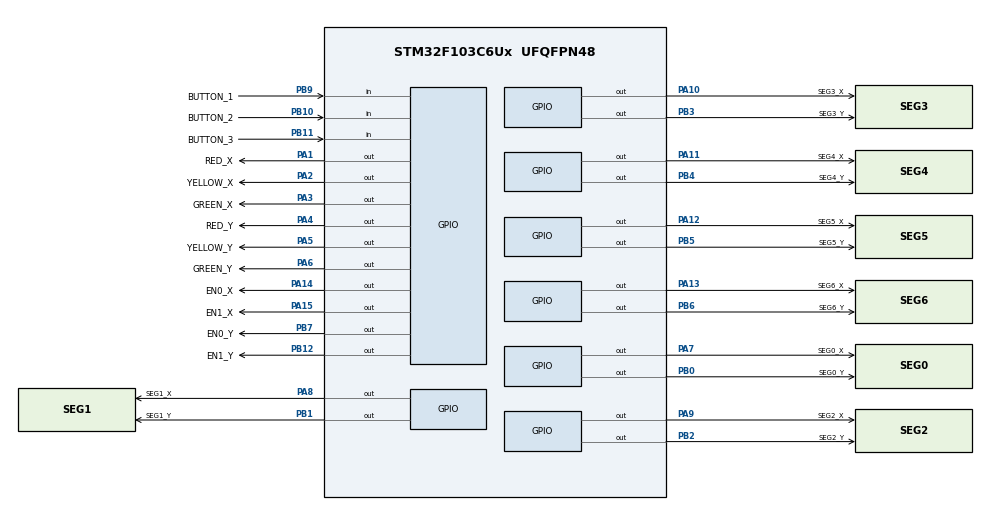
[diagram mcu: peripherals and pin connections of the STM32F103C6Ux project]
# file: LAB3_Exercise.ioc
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Mcu.Family=STM32F1
Mcu.Name=STM32F103C6Ux
Mcu.Package=UFQFPN48
NVIC.PriorityGroup=NVIC_PRIORITYGROUP_4
NVIC.TIM2_IRQn=true\:0\:0\:false\:false\:true\:true\:true
PA1.GPIO_Label=RED_X
PA1.Signal=GPIO_Output
PA10.GPIO_Label=SEG3_X
PA10.Signal=GPIO_Output
PA11.GPIO_Label=SEG4_X
PA11.Signal=GPIO_Output
PA12.GPIO_Label=SEG5_X
PA12.Signal=GPIO_Output
PA13.GPIO_Label=SEG6_X
PA13.Signal=GPIO_Output
PA14.GPIO_Label=EN0_X
PA14.Signal=GPIO_Output
PA15.GPIO_Label=EN1_X
PA15.Signal=GPIO_Output
PA2.GPIO_Label=YELLOW_X
PA2.Signal=GPIO_Output
PA3.GPIO_Label=GREEN_X
PA3.Signal=GPIO_Output
PA4.GPIO_Label=RED_Y
PA4.Signal=GPIO_Output
PA5.GPIO_Label=YELLOW_Y
PA5.Signal=GPIO_Output
PA6.GPIO_Label=GREEN_Y
PA6.Signal=GPIO_Output
PA7.GPIO_Label=SEG0_X
PA7.Signal=GPIO_Output
PA8.GPIO_Label=SEG1_X
PA8.Signal=GPIO_Output
PA9.GPIO_Label=SEG2_X
PA9.Signal=GPIO_Output
PB0.GPIO_Label=SEG0_Y
PB0.Signal=GPIO_Output
PB1.GPIO_Label=SEG1_Y
PB1.Signal=GPIO_Output
PB10.GPIO_Label=BUTTON_2
PB10.GPIO_PuPd=GPIO_PULLUP
PB10.Signal=GPIO_Input
PB11.GPIO_Label=BUTTON_3
PB11.GPIO_PuPd=GPIO_PULLUP
PB11.Signal=GPIO_Input
PB12.GPIO_Label=EN1_Y
PB12.Signal=GPIO_Output
PB2.GPIO_Label=SEG2_Y
PB2.Signal=GPIO_Output
PB3.GPIO_Label=SEG3_Y
PB3.Signal=GPIO_Output
PB4.GPIO_Label=SEG4_Y
PB4.Signal=GPIO_Output
PB5.GPIO_Label=SEG5_Y
PB5.Signal=GPIO_Output
PB6.GPIO_Label=SEG6_Y
PB6.Signal=GPIO_Output
PB7.GPIO_Label=EN0_Y
PB7.Signal=GPIO_Output
PB9.GPIO_Label=BUTTON_1
PB9.GPIO_PuPd=GPIO_PULLUP
PB9.Signal=GPIO_Input
ProjectManager.HeapSize=0x200
ProjectManager.StackSize=0x400
ProjectManager.TargetToolchain=STM32CubeIDE
RCC.APB1Freq_Value=8000000
RCC.APB2Freq_Value=8000000
TIM2.Period=9
TIM2.Prescaler=7999
VP_SYS_VS_ND.Mode=No_Debug
VP_TIM2_VS_ClockSourceINT.Mode=Internal
board=custom

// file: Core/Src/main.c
/* USER CODE BEGIN Header */
/**
  ******************************************************************************
  * @file           : main.c
  * @brief          : Main program body
  ******************************************************************************
  * @attention
  *
  * <h2><center>&copy; Copyright (c) 2024 STMicroelectronics.
  * All rights reserved.</center></h2>
  *
  * This software component is licensed by ST under BSD 3-Clause license,
  * the "License"; You may not use this file except in compliance with the
  * License. You may obtain a copy of the License at:
  *                        opensource.org/licenses/BSD-3-Clause
  *
  ******************************************************************************
  */
/* USER CODE END Header */
#include "main.h"

/* USER CODE BEGIN Includes */
#include "software_timer.h"
#include "button.h"
#include "fsm_automatic.h"
#include "display7SEG.h"
#include "modes.h"
/* USER CODE END Includes */

TIM_HandleTypeDef htim2;

void SystemClock_Config(void);
static void MX_GPIO_Init(void);
static void MX_TIM2_Init(void);

/* USER CODE BEGIN 0 */
//int second_X = 4, second_Y = 2;
/* USER CODE END 0 */

int main(void)
{

  /* MCU Configuration--------------------------------------------------------*/

  /* Reset of all peripherals, Initializes the Flash interface and the Systick. */
  HAL_Init();

  /* Configure the system clock */
  SystemClock_Config();

  /* Initialize all configured peripherals */
  MX_GPIO_Init();
  MX_TIM2_Init();
  /* USER CODE BEGIN 2 */
  HAL_TIM_Base_Start_IT(&htim2);
  /* USER CODE END 2 */

  /* Infinite loop */
  /* USER CODE BEGIN WHILE */

  status_X = INIT;
  status_Y = INIT;

  timer_flag_0 = 1;
  timer_flag_1 = 1;
  timer_flag_2 = 1;
  timer_flag_3 = 1;
  timer_flag_4 = 1;
  timer_flag_5 = 1;
  while (1)
  {
	  run_traffic_light();
    /* USER CODE END WHILE */

  }
}

void SystemClock_Config(void)
{
  RCC_OscInitTypeDef RCC_OscInitStruct = {0};
  RCC_ClkInitTypeDef RCC_ClkInitStruct = {0};

  /** Initializes the RCC Oscillators according to the specified parameters
  * in the RCC_OscInitTypeDef structure.
  */
  RCC_OscInitStruct.OscillatorType = RCC_OSCILLATORTYPE_HSI;
  RCC_OscInitStruct.HSIState = RCC_HSI_ON;
  RCC_OscInitStruct.HSICalibrationValue = RCC_HSICALIBRATION_DEFAULT;
  RCC_OscInitStruct.PLL.PLLState = RCC_PLL_NONE;
  if (HAL_RCC_OscConfig(&RCC_OscInitStruct) != HAL_OK)
  {
    Error_Handler();
  }
  /** Initializes the CPU, AHB and APB buses clocks
  */
  RCC_ClkInitStruct.ClockType = RCC_CLOCKTYPE_HCLK|RCC_CLOCKTYPE_SYSCLK
                              |RCC_CLOCKTYPE_PCLK1|RCC_CLOCKTYPE_PCLK2;
  RCC_ClkInitStruct.SYSCLKSource = RCC_SYSCLKSOURCE_HSI;
  RCC_ClkInitStruct.AHBCLKDivider = RCC_SYSCLK_DIV1;
  RCC_ClkInitStruct.APB1CLKDivider = RCC_HCLK_DIV1;
  RCC_ClkInitStruct.APB2CLKDivider = RCC_HCLK_DIV1;

  if (HAL_RCC_ClockConfig(&RCC_ClkInitStruct, FLASH_LATENCY_0) != HAL_OK)
  {
    Error_Handler();
  }
}

static void MX_TIM2_Init(void)
{

  TIM_ClockConfigTypeDef sClockSourceConfig = {0};
  TIM_MasterConfigTypeDef sMasterConfig = {0};

  htim2.Instance = TIM2;
  htim2.Init.Prescaler = 7999;
  htim2.Init.CounterMode = TIM_COUNTERMODE_UP;
  htim2.Init.Period = 9;
  htim2.Init.ClockDivision = TIM_CLOCKDIVISION_DIV1;
  htim2.Init.AutoReloadPreload = TIM_AUTORELOAD_PRELOAD_DISABLE;
  if (HAL_TIM_Base_Init(&htim2) != HAL_OK)
  {
    Error_Handler();
  }
  sClockSourceConfig.ClockSource = TIM_CLOCKSOURCE_INTERNAL;
  if (HAL_TIM_ConfigClockSource(&htim2, &sClockSourceConfig) != HAL_OK)
  {
    Error_Handler();
  }
  sMasterConfig.MasterOutputTrigger = TIM_TRGO_RESET;
  sMasterConfig.MasterSlaveMode = TIM_MASTERSLAVEMODE_DISABLE;
  if (HAL_TIMEx_MasterConfigSynchronization(&htim2, &sMasterConfig) != HAL_OK)
  {
    Error_Handler();
  }

}

static void MX_GPIO_Init(void)
{
  GPIO_InitTypeDef GPIO_InitStruct = {0};

  /* GPIO Ports Clock Enable */
  __HAL_RCC_GPIOA_CLK_ENABLE();
  __HAL_RCC_GPIOB_CLK_ENABLE();

  /*Configure GPIO pin Output Level */
  HAL_GPIO_WritePin(GPIOA, RED_X_Pin|YELLOW_X_Pin|GREEN_X_Pin|RED_Y_Pin
                          |YELLOW_Y_Pin|GREEN_Y_Pin|SEG0_X_Pin|SEG1_X_Pin
                          |SEG2_X_Pin|SEG3_X_Pin|SEG4_X_Pin|SEG5_X_Pin
                          |SEG6_X_Pin|EN0_X_Pin|EN1_X_Pin, GPIO_PIN_RESET);

  /*Configure GPIO pin Output Level */
  HAL_GPIO_WritePin(GPIOB, SEG0_Y_Pin|SEG1_Y_Pin|SEG2_Y_Pin|EN1_Y_Pin
                          |SEG3_Y_Pin|SEG4_Y_Pin|SEG5_Y_Pin|SEG6_Y_Pin
                          |EN0_Y_Pin, GPIO_PIN_RESET);

  /*Configure GPIO pins : RED_X_Pin YELLOW_X_Pin GREEN_X_Pin RED_Y_Pin
                           YELLOW_Y_Pin GREEN_Y_Pin SEG0_X_Pin SEG1_X_Pin
                           SEG2_X_Pin SEG3_X_Pin SEG4_X_Pin SEG5_X_Pin
                           SEG6_X_Pin EN0_X_Pin EN1_X_Pin */
  GPIO_InitStruct.Pin = RED_X_Pin|YELLOW_X_Pin|GREEN_X_Pin|RED_Y_Pin
                          |YELLOW_Y_Pin|GREEN_Y_Pin|SEG0_X_Pin|SEG1_X_Pin
                          |SEG2_X_Pin|SEG3_X_Pin|SEG4_X_Pin|SEG5_X_Pin
                          |SEG6_X_Pin|EN0_X_Pin|EN1_X_Pin;
  GPIO_InitStruct.Mode = GPIO_MODE_OUTPUT_PP;
  GPIO_InitStruct.Pull = GPIO_NOPULL;
  GPIO_InitStruct.Speed = GPIO_SPEED_FREQ_LOW;
  HAL_GPIO_Init(GPIOA, &GPIO_InitStruct);

  /*Configure GPIO pins : SEG0_Y_Pin SEG1_Y_Pin SEG2_Y_Pin EN1_Y_Pin
                           SEG3_Y_Pin SEG4_Y_Pin SEG5_Y_Pin SEG6_Y_Pin
                           EN0_Y_Pin */
  GPIO_InitStruct.Pin = SEG0_Y_Pin|SEG1_Y_Pin|SEG2_Y_Pin|EN1_Y_Pin
                          |SEG3_Y_Pin|SEG4_Y_Pin|SEG5_Y_Pin|SEG6_Y_Pin
                          |EN0_Y_Pin;
  GPIO_InitStruct.Mode = GPIO_MODE_OUTPUT_PP;
  GPIO_InitStruct.Pull = GPIO_NOPULL;
  GPIO_InitStruct.Speed = GPIO_SPEED_FREQ_LOW;
  HAL_GPIO_Init(GPIOB, &GPIO_InitStruct);

  /*Configure GPIO pins : BUTTON_2_Pin BUTTON_3_Pin BUTTON_1_Pin */
  GPIO_InitStruct.Pin = BUTTON_2_Pin|BUTTON_3_Pin|BUTTON_1_Pin;
  GPIO_InitStruct.Mode = GPIO_MODE_INPUT;
  GPIO_InitStruct.Pull = GPIO_PULLUP;
  HAL_GPIO_Init(GPIOB, &GPIO_InitStruct);

}

/* USER CODE BEGIN 4 */
void HAL_TIM_PeriodElapsedCallback(TIM_HandleTypeDef *htim){
	timer_run();
	getKeyInput_1();
	getKeyInput_2();
	getKeyInput_3();
}
/* USER CODE END 4 */

void Error_Handler(void)
{
  __disable_irq();
  while (1)
  {
  }
}

/************************ (C) COPYRIGHT STMicroelectronics *****END OF FILE****/
